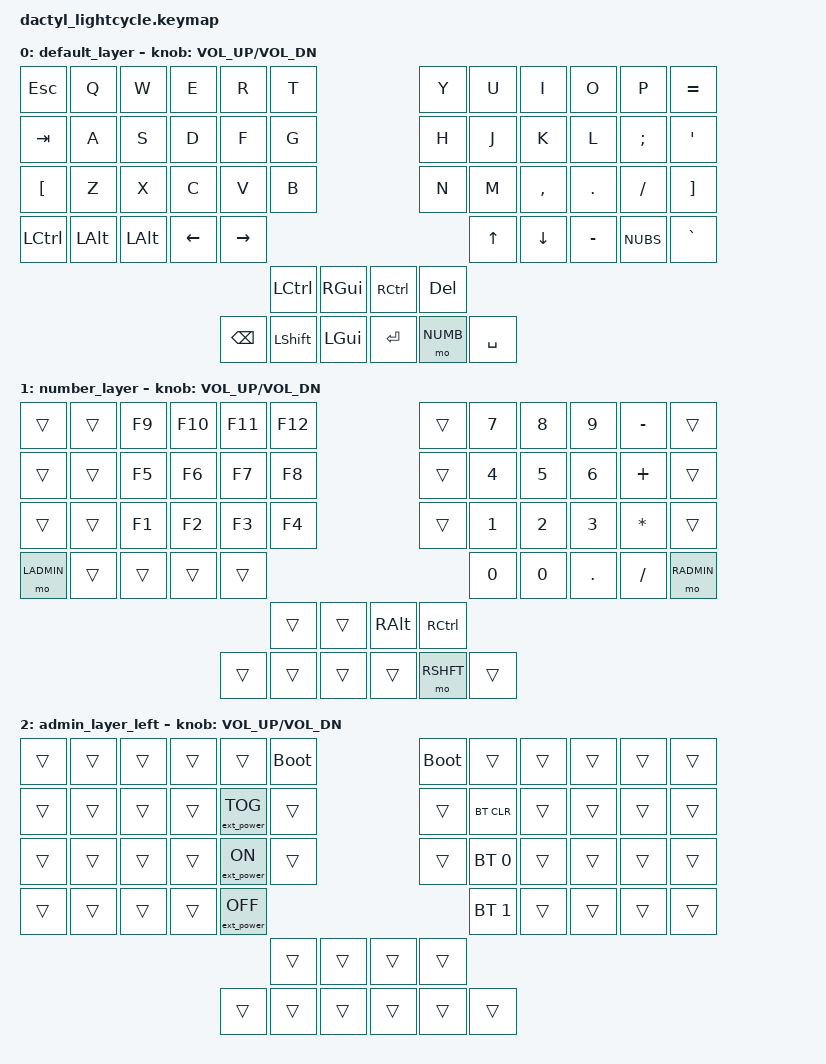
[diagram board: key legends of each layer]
/*
 * Copyright (c) 2020 The ZMK Contributors
 *
 * SPDX-License-Identifier: MIT
 */

#include <behaviors.dtsi>
#include <dt-bindings/zmk/keys.h>
#include <dt-bindings/zmk/bt.h>
#include <dt-bindings/zmk/ext_power.h>

#define DEFAULT 0
#define NUMB    1
#define LADMIN  2
#define RADMIN  3

/ {
    keymap {
        compatible = "zmk,keymap";

        default_layer {
/* Keymap 0: Basic Layer
*
* ,------+------+------+------+------+-------.                    ,------+------+------+------+------+------.
* | ESC  |   Q  |   W  |   E  |   R  |    T  |                    |   Y  |   U  |   I  |   O  |  P  |   =   |
* |------+------+------+------+------+-------|                    |------+------+------+------+-----+-------|
* | TAB  |   A   |   S  |   D  |   F  |   G  |                    |   H  |   J  |   K  |   L  |  ;  |   '   |
* |------+------+------+------+------+-------|                    |------+------+------+------+-----+-------|
* |  [   |   Z   |   X  |   C  |   V  |   B  |                    |   N  |  M   |   ,  |   .  |  /  |   ]   |
* |------+------+------+------+------+-------'                    `------+------+------+------+-----+-------|
* | LCtrl| LAlt | LAlt | Left | Right|                                   |  Up  | Down |   -  |   \  |  `   |
* `----------------------------------'                                  `-----------------------------------'
*                                      ,-------------.   ,--------------.
*                                      |       |      |  | MO   | Delete|
*                               ,------| LCtrl | RGUI |  |(SYMB)|       |-------.
*                               | Back |-------|      |  |      |-------|       |
*                               | Space|       | ---- |  |------|       | Space |
*                               |      | LShift| LGUI |  |Enter |  MO   |       |
*                               |      |       |      |  |      |(NUMB) |       |
*                               `---------------------'  `----------------------'
*
*/
            bindings = <
&kp ESC    &kp Q     &kp W     &kp E      &kp R      &kp T                             &kp Y     &kp U    &kp I      &kp O      &kp P     &kp EQUAL
&kp TAB    &kp A     &kp S     &kp D      &kp F      &kp G                             &kp H     &kp J    &kp K      &kp L      &kp SEMI  &kp SQT
&kp LBKT   &kp Z     &kp X     &kp C      &kp V      &kp B                             &kp N     &kp M    &kp COMMA  &kp DOT    &kp FSLH  &kp RBKT
&kp LCTRL  &kp LALT  &kp LALT  &kp LEFT   &kp RIGHT                                              &kp UP   &kp DOWN   &kp MINUS  &kp NUBS  &kp GRAVE
                                                     &kp LCTRL  &kp RGUI    &kp RCTRL  &kp DEL   
                                          &kp BSPC   &kp LSHFT  &kp LGUI    &kp RET    &mo NUMB  &kp SPACE
            >;

            sensor-bindings = <&inc_dec_kp C_VOL_UP C_VOL_DN>;
        };

        number_layer {
/* Keymap 1: Number Layer
 *
 * ,-----------------------------------------.                    ,---------------------------------------------.
 * |          |  |  F9  |  F10 |  F11 |  F12 |                    |      |   7  |   8  |   9  |   -  |          |
 * |----------+--+------+------+------+------|                    |------+------+------+------+------+----------|
 * |          |  |  F5  |  F6  |  F7  |  F8  |                    |      |   4  |   5  |   6  |   +  |          |
 * |----------+--+------+------+------+------|                    |------+------+------+------+------+----------|
 * |          |  |  F1  |  F2  |  F3  |  F4  |                    |      |   1  |   2  |   3  |   *  |          |
 * |----------+------+------+------+------+--'                    `------+------+------+------+------+----------|
 * |MO(LADMIN)|  |      |      |      |                                  |   0  |   0  |   .  |   /  |MO(RADMIN)|
 * `----------------------------------'                                  `--------------------------------------'
 *                                      ,-------------.  ,-------------.
 *                                      |      |      |  |      | RCtrl|
 *                               ,------|      |      |  | RAlt |      |------.
 *                               |      |------|      |  |      |------|      |
 *                               |      |++++++|------|  |------|      |      |
 *                               |      |++++++|      |  |      | RShft|      |
 *                               |      |++++++|      |  |      |      |      |
 *                               |      |++++++|      |  |      |      |      |
 *                               `--------------------'  `--------------------'
 */
            bindings = <
&trans      &trans  &kp F9  &kp F10  &kp F11  &kp F12                     &trans     &kp N7     &kp N8  &kp N9   &kp MINUS &trans
&trans      &trans  &kp F5  &kp F6   &kp F7   &kp F8                      &trans     &kp N4     &kp N5  &kp N6   &kp PLUS  &trans
&trans      &trans  &kp F1  &kp F2   &kp F3   &kp F4                      &trans     &kp N1     &kp N2  &kp N3   &kp STAR  &trans
&mo LADMIN  &trans  &trans  &trans   &trans                                          &kp N0     &kp N0  &kp DOT  &kp FSLH  &mo RADMIN
                                              &trans  &trans    &kp RALT  &kp RCTRL   
                                     &trans   &trans  &trans    &trans    &mo RSHFT  &trans
            >;

            sensor-bindings = <&inc_dec_kp C_VOL_UP C_VOL_DN>;
        };

        admin_layer_left {
/* Keymap 2: Admin Layer
 *
 * ,-------------------------------------------.                    ,------------------------------------------.
 * |      |      |      |      |      |  BLDR  |                    | BLDR |       |      |      |      |      |
 * |------+------+------+------+------+--------|                    |------+-------+------+------+------+------|
 * |      |      |      |      | TOG  |        |                    |      | BTCLR |      |      |      |      |
 * |------+------+------+------+------+--------|                    |------+-------+------+------+------+------|
 * |      |      |      |      | ON   |        |                    |      | BT_0  |      |      |      |      |
 * |------------+------+------+------+--------+'                    `------+-------+------+------+------+------|
 * |      |      |      |      | OFF  |                                    | BT_1  |      |      |      |      |
 * `----------------------------------'                                    `-----------------------------------'
 *                                      ,-------------.  ,-------------.
 *                                      |      |      |  |      |      |
 *                               ,------|      |      |  |      |      |------.
 *                               |      |------|      |  |      |------|      |
 *                               |      |      |------|  |------|      |      |
 *                               |      |      |      |  |      |      |      |
 *                               |      |      |      |  |      |      |      |
 *                               |      |      |      |  |      |      |      |
 *                               `--------------------'  `--------------------'
 */
            bindings = <
&trans  &trans  &trans  &trans  &trans             &bootloader                     &bootloader  &trans        &trans  &trans  &trans  &trans
&trans  &trans  &trans  &trans  &ext_power EP_TOG  &trans                          &trans       &bt BT_CLR    &trans  &trans  &trans  &trans
&trans  &trans  &trans  &trans  &ext_power EP_ON   &trans                          &trans       &bt BT_SEL 0  &trans  &trans  &trans  &trans
&trans  &trans  &trans  &trans  &ext_power EP_OFF                                               &bt BT_SEL 1  &trans  &trans  &trans  &trans
                                                   &trans      &trans      &trans  &trans                      
                                &trans             &trans      &trans      &trans  &trans       &trans
            >;              

            sensor-bindings = <&inc_dec_kp C_VOL_UP C_VOL_DN>;
        };
    };

        admin_layer_right {
/* Keymap 3: Admin Layer Right...
 *
 * ,-------------------------------------------.                    ,------------------------------------------.
 * |      |      |      |      |      |  BLDR  |                    | BLDR |       |      |      |      |      |
 * |------+------+------+------+------+--------|                    |------+-------+------+------+------+------|
 * |      |      |      |      | TOG  |        |                    |      | BTCLR |      |      |      |      |
 * |------+------+------+------+------+--------|                    |------+-------+------+------+------+------|
 * |      |      |      |      | ON   |        |                    |      | BT_0  |      |      |      |      |
 * |------------+------+------+------+--------+'                    `------+-------+------+------+------+------|
 * |      |      |      |      | OFF  |                                    | BT_1  |      |      |      |      |
 * `----------------------------------'                                    `-----------------------------------'
 *                                      ,-------------.  ,-------------.
 *                                      |      |      |  |      |      |
 *                               ,------|      |      |  |      |      |------.
 *                               |      |------|      |  |      |------|      |
 *                               |      |      |------|  |------|      |      |
 *                               |      |      |      |  |      |      |      |
 *                               |      |      |      |  |      |      |      |
 *                               |      |      |      |  |      |      |      |
 *                               `--------------------'  `--------------------'
 */
            bindings = <
&trans  &trans  &trans  &trans  &trans             &bootloader                     &bootloader  &trans        &trans  &trans  &trans  &trans
&trans  &trans  &trans  &trans  &ext_power EP_TOG  &trans                          &trans       &bt BT_CLR    &trans  &trans  &trans  &trans
&trans  &trans  &trans  &trans  &ext_power EP_ON   &trans                          &trans       &bt BT_SEL 0  &trans  &trans  &trans  &trans
&trans  &trans  &trans  &trans  &ext_power EP_OFF                                               &bt BT_SEL 1  &trans  &trans  &trans  &trans
                                                   &trans      &trans      &trans  &trans                      
                                &trans             &trans      &trans      &trans  &trans       &trans
            >;              

            sensor-bindings = <&inc_dec_kp C_VOL_UP C_VOL_DN>;
        };
    };
};
